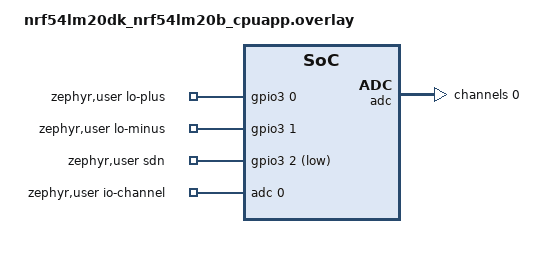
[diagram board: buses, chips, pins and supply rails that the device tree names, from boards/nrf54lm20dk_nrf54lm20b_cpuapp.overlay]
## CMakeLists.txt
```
cmake_minimum_required(VERSION 3.20.0)

# The Axon NPU driver comes from the Edge AI Add-on, used as an extra Zephyr module.
if(NOT DEFINED EXTRA_ZEPHYR_MODULES AND NOT DEFINED ENV{EXTRA_ZEPHYR_MODULES})
  if(DEFINED ENV{EDGE_AI_ADDON_DIR})
    set(EXTRA_ZEPHYR_MODULES $ENV{EDGE_AI_ADDON_DIR})
  else()
    set(EXTRA_ZEPHYR_MODULES /opt/nordic/ncs/sdk-edge-ai)
  endif()
endif()

# --- Which model to build in -------------------------------------------------------------------
# MODEL_DIR is a folder from the Axon export (deploy/out_<name>/firmware_generated) holding
#   nrf_axon_model_<name>_.h, frontend_params.h and test_beats.h.
# Example: west build -b nrf54lm20dk/nrf54lm20b/cpuapp -- -DMODEL_DIR=<dir> -DRUN_MODEL=1
#   -DRECORD_SECONDS=5 "-DMODEL_POS_LABEL=CHD" "-DMODEL_NEG_LABEL=NO CHD"
# With sysbuild (the NCS default) the -D options land in the sysbuild cache, not in this app's
# cache, and they are needed before find_package(Zephyr) (the NPU buffer is a Kconfig option),
# so read them from there by hand. The app-prefixed form (-Dleopatch_onchip_MODEL_DIR) works too.
function(leopatch_option name default type help)
  set(value "${default}")
  if(DEFINED CACHE{${name}})
    set(value "$CACHE{${name}}")
  endif()
  if(DEFINED SYSBUILD_CACHE AND EXISTS "${SYSBUILD_CACHE}")
    file(STRINGS "${SYSBUILD_CACHE}" lines REGEX "^(leopatch_onchip_)?${name}:[A-Z]+=")
    foreach(prefix "" "leopatch_onchip_") # the app-prefixed entry wins
      foreach(line IN LISTS lines)
        if(line MATCHES "^${prefix}${name}:[A-Z]+=(.*)$")
          set(value "${CMAKE_MATCH_1}")
        endif()
      endforeach()
    endforeach()
  endif()
  set(${name} "${value}" CACHE ${type} "${help}" FORCE)
endfunction()

leopatch_option(MODEL_DIR ${CMAKE_CURRENT_SOURCE_DIR}/src/generated PATH "Axon model package folder")
leopatch_option(MODEL_POS_LABEL "MAN" STRING "Result shown when sigmoid(logit) >= threshold")
leopatch_option(MODEL_NEG_LABEL "WOMAN" STRING "Result shown below the threshold")
leopatch_option(RUN_MODEL 0 STRING "1: run the model on the chip, 0: record and send only")
leopatch_option(RECORD_SECONDS 10 STRING "Recording length in seconds")

file(GLOB MODEL_HEADER RELATIVE ${MODEL_DIR} ${MODEL_DIR}/nrf_axon_model_*_.h)
list(LENGTH MODEL_HEADER n_headers)
if(NOT n_headers EQUAL 1)
  message(FATAL_ERROR "MODEL_DIR ${MODEL_DIR} must hold exactly one nrf_axon_model_<name>_.h")
endif()
foreach(f frontend_params.h test_beats.h)
  if(NOT EXISTS ${MODEL_DIR}/${f})
    message(FATAL_ERROR "MODEL_DIR ${MODEL_DIR} has no ${f}")
  endif()
endforeach()
string(REGEX REPLACE "^nrf_axon_model_(.*)_\\.h$" "\\1" MODEL_NAME ${MODEL_HEADER})
string(TOUPPER ${MODEL_NAME} MODEL_NAME_UPPER)

# The NPU scratch buffer is a Kconfig option; size it for this model.
file(STRINGS ${MODEL_DIR}/${MODEL_HEADER} il_line
     REGEX "#define NRF_AXON_MODEL_${MODEL_NAME_UPPER}_MAX_IL_BUFFER_USED")
string(REGEX MATCH "[0-9]+$" MODEL_IL_BUFFER "${il_line}")
file(STRINGS ${MODEL_DIR}/frontend_params.h ch_line REGEX "#define FRONTEND_STEM_CHANNELS")
string(REGEX MATCH "[0-9]+$" MODEL_STEM_CHANNELS "${ch_line}")
set(model_conf ${CMAKE_CURRENT_BINARY_DIR}/model.conf)
file(WRITE ${model_conf} "CONFIG_NRF_AXON_INTERLAYER_BUFFER_SIZE=${MODEL_IL_BUFFER}\n")
list(APPEND EXTRA_CONF_FILE ${model_conf})
message(STATUS "LeoPatch model: ${MODEL_NAME} (${MODEL_STEM_CHANNELS} stem channels, "
               "${MODEL_IL_BUFFER} B NPU buffer) from ${MODEL_DIR}")

find_package(Zephyr REQUIRED HINTS $ENV{ZEPHYR_BASE})
project(leopatch_onchip)

target_sources(app PRIVATE
    src/main.c
    src/beats.c
    src/frontend.c
    src/notch.c
    src/upload.c
)
target_include_directories(app PRIVATE ${MODEL_DIR})
target_compile_definitions(app PRIVATE
    MODEL_HEADER="${MODEL_HEADER}"
    MODEL=model_${MODEL_NAME}
    MODEL_NAME_STR="${MODEL_NAME}"
    MODEL_OUTPUT_SIZE=NRF_AXON_MODEL_${MODEL_NAME_UPPER}_PACKED_OUTPUT_SIZE
    MODEL_STEM_CHANNELS=${MODEL_STEM_CHANNELS}
    MODEL_POS_LABEL="${MODEL_POS_LABEL}"
    MODEL_NEG_LABEL="${MODEL_NEG_LABEL}"
    RUN_MODEL=${RUN_MODEL}
    RECORD_SECONDS=${RECORD_SECONDS}
)
```

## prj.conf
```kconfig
CONFIG_ADC=y
CONFIG_GPIO=y
CONFIG_PRINTK=y
CONFIG_SERIAL=y
CONFIG_CONSOLE=y
CONFIG_UART_CONSOLE=y

CONFIG_NRF_AXON=y
# Must be >= NRF_AXON_MODEL_ECG_SEX_BEAT_MAX_IL_BUFFER_USED in the generated model header
CONFIG_NRF_AXON_INTERLAYER_BUFFER_SIZE=52736
# The model is compiled without the partial sum buffer
CONFIG_NRF_AXON_PSUM_BUFFER_SIZE=0

CONFIG_FPU=y
CONFIG_CBPRINTF_FP_SUPPORT=y
CONFIG_MAIN_STACK_SIZE=4096
# 1 us kernel ticks, so the 2000 us sample period (500 Hz) is exact and the notch filters line up with the hum
CONFIG_SYS_CLOCK_TICKS_PER_SEC=1000000

# Bluetooth upload (Button 1): Nordic UART Service, one connection, no pairing yet
CONFIG_BT=y
CONFIG_BT_PERIPHERAL=y
CONFIG_BT_DEVICE_NAME="LeoPatch"
CONFIG_BT_MAX_CONN=1
CONFIG_BT_NUS=y
# Test setup: no pairing (BT_NUS_AUTHEN off), so anyone nearby can connect and read the recording.
# Turn on pairing and encryption before real use.
# Bigger packets so the 5 s recording uploads in about a second
CONFIG_BT_L2CAP_TX_MTU=247
CONFIG_BT_BUF_ACL_RX_SIZE=251
CONFIG_BT_BUF_ACL_TX_SIZE=251
CONFIG_BT_CTLR_DATA_LENGTH_MAX=251
CONFIG_HEAP_MEM_POOL_SIZE=2048
CONFIG_SYSTEM_WORKQUEUE_STACK_SIZE=2048
```

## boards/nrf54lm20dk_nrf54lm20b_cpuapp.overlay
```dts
/*
 * AD8232 breakout on the nRF54LM20 DK:
 *   OUTPUT -> P1.04 (AIN6, header P2)
 *   LO+    -> P3.00 (header P5)
 *   LO-    -> P3.01 (header P5)
 *   SDN    -> P3.02 (header P5), driven high while recording
 * Set nRF:VDD to 3.3 V in the Board Configurator first; the ADC input must stay below VDD.
 */
/ {
	zephyr,user {
		io-channels = <&adc 0>;
		lo-plus-gpios = <&gpio3 0 GPIO_ACTIVE_HIGH>;
		lo-minus-gpios = <&gpio3 1 GPIO_ACTIVE_HIGH>;
		sdn-gpios = <&gpio3 2 GPIO_ACTIVE_LOW>;
	};
};

&adc {
	#address-cells = <1>;
	#size-cells = <0>;
	status = "okay";

	/* 0.9 V internal reference x gain 1/4 = 3.6 V full scale, covers the AD8232's 0-3.3 V output */
	channel@0 {
		reg = <0>;
		zephyr,gain = "ADC_GAIN_1_4";
		zephyr,reference = "ADC_REF_INTERNAL";
		zephyr,acquisition-time = <ADC_ACQ_TIME_DEFAULT>;
		zephyr,input-positive = <NRF_SAADC_AIN6>; /* P1.04 */
		zephyr,resolution = <12>;
		zephyr,oversampling = <4>;
	};
};
```

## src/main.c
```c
/*
 * LeoPatch on-chip test: AD8232 breakout -> nRF54LM20B -> median-beat model on the Axon NPU.
 *
 * The model is chosen at build time (MODEL_DIR in CMakeLists.txt, or the dashboard in
 * dashboard/), so any median-beat model exported for the Axon NPU can be flashed.
 *
 * Press Button 0 (or send 'r' on the serial port) to record RECORD_SECONDS at 500 Hz. The chip
 * removes mains hum and finds the heartbeats. With RUN_MODEL set it also builds the 800-sample
 * median beat, runs the stem on the CPU and the rest of the model on the NPU, and shows the answer
 * on the LEDs:
 *   LED0 = MODEL_POS_LABEL, LED1 = MODEL_NEG_LABEL, LED2 = running (recording or thinking),
 *   LED3 = error
 * With RUN_MODEL off, the recording is only sent (Button 1) and the model runs on the laptop
 * (tools/ble_receive.py); all LEDs are off when the recording is done.
 * Errors: an electrode off, fewer than 2 full heartbeats, ADC or NPU failure. At start-up the
 * NPU is checked against the Python reference on 4 built-in median beats; a mismatch is an error.
 *
 * Press Button 1 (or send 'u') to send the last result and recording over Bluetooth (see
 * upload.h); LED2 blinks while the board waits for a receiver and sends. The radio is off at all
 * other times, so it never runs during an inference.
 *
 * Serial commands (one character, no Enter needed): r = record, u = Bluetooth upload,
 * t = rerun the NPU self-test, i = print the model info line.
 *
 * Serial output (debugger's second port) is compatible with
 * firmware/ecg_breakout_test/tools/plot_ecg.py: one "raw_mv,filtered_mv,lead_off" line per
 * sample, status lines start with '#'.
 */
#include <assert.h> /* static_assert, used by the generated model header */
#include <math.h>

#include <zephyr/kernel.h>
#include <zephyr/device.h>
#include <zephyr/drivers/adc.h>
#include <zephyr/drivers/gpio.h>
#include <zephyr/drivers/uart.h>
#include <zephyr/sys/printk.h>

#include <axon/nrf_axon_platform.h>
#include <drivers/axon/nrf_axon_driver.h>
#include <drivers/axon/nrf_axon_nn_infer.h>

#include "beats.h"
#include "frontend.h"
#include "notch.h"
#include "recording.h"
#include "upload.h"
#include MODEL_HEADER  /* nrf_axon_model_<name>_.h from MODEL_DIR */
#include "test_beats.h" /* from MODEL_DIR */

/* MODEL, MODEL_NAME_STR, MODEL_OUTPUT_SIZE, MODEL_POS_LABEL, MODEL_NEG_LABEL and RUN_MODEL
 * come from CMakeLists.txt.
 * RUN_MODEL 0: record and send only; the lead I model runs on the laptop.
 * RUN_MODEL 1: run the model on the chip (2-5 s recordings are enough, see RECORD_SECONDS). */

/* Mains hum in the US: 60 Hz plus harmonics below the 250 Hz Nyquist limit. */
#define MAINS_HZ       60
#define N_NOTCHES      3
#define NOTCH_Q        30.0f
#define SETTLE_SAMPLES (SAMPLE_RATE_HZ / 2) /* filter warm-up, not recorded */

/* A recording is rejected if an electrode is off in more than this share of samples. */
#define MAX_LEAD_OFF_PERCENT 5

/* Allowed logit difference to the Python int8 reference (front end float rounding). */
#define LOGIT_TOLERANCE 0.25f

/* How long Button 1 advertises for a phone or laptop before giving up. */
#define UPLOAD_WAIT K_SECONDS(60)

enum event { EVENT_MEASURE, EVENT_UPLOAD, EVENT_SELF_TEST, EVENT_INFO };

static const struct adc_dt_spec ecg = ADC_DT_SPEC_GET_BY_IDX(DT_PATH(zephyr_user), 0);
static const struct gpio_dt_spec lo_plus = GPIO_DT_SPEC_GET(DT_PATH(zephyr_user), lo_plus_gpios);
static const struct gpio_dt_spec lo_minus = GPIO_DT_SPEC_GET(DT_PATH(zephyr_user), lo_minus_gpios);
/* Active low: "active" means shut down. */
static const struct gpio_dt_spec sdn = GPIO_DT_SPEC_GET(DT_PATH(zephyr_user), sdn_gpios);
static const struct gpio_dt_spec button = GPIO_DT_SPEC_GET(DT_ALIAS(sw0), gpios);
static const struct gpio_dt_spec button_upload = GPIO_DT_SPEC_GET(DT_ALIAS(sw1), gpios);
static const struct gpio_dt_spec led_pos = GPIO_DT_SPEC_GET(DT_ALIAS(led0), gpios);
static const struct gpio_dt_spec led_neg = GPIO_DT_SPEC_GET(DT_ALIAS(led1), gpios);
static const struct gpio_dt_spec led_running = GPIO_DT_SPEC_GET(DT_ALIAS(led2), gpios);
static const struct gpio_dt_spec led_error = GPIO_DT_SPEC_GET(DT_ALIAS(led3), gpios);
static const struct device *const console = DEVICE_DT_GET(DT_CHOSEN(zephyr_console));

K_MSGQ_DEFINE(events, sizeof(enum event), 1, 4);
static struct gpio_callback button_cb;
static struct gpio_callback button_upload_cb;

/* Last successful result, sent by Button 1 together with recording[]. */
static char last_result[128];
static bool have_result;

static float recording[RECORDING_LEN];
static float beat[BEAT_LEN];
static int8_t npu_input[FRONTEND_OUT_CH * FRONTEND_OUT_LEN];
static int8_t npu_output[MODEL_OUTPUT_SIZE] __aligned(4);

static void button_pressed(const struct device *dev, struct gpio_callback *cb, uint32_t pins)
{
	enum event e = cb == &button_upload_cb ? EVENT_UPLOAD : EVENT_MEASURE;

	k_msgq_put(&events, &e, K_NO_WAIT); /* dropped if a job is already waiting */
}

/* Serial commands from the dashboard: same events as the buttons, plus self-test and info. */
static void serial_commands(void *a, void *b, void *c)
{
	while (true) {
		unsigned char ch;
		enum event e;

		if (uart_poll_in(console, &ch) != 0) {
			k_msleep(20);
			continue;
		}
		switch (ch) {
		case 'r':
			e = EVENT_MEASURE;
			break;
		case 'u':
			e = EVENT_UPLOAD;
			break;
		case 't':
			e = EVENT_SELF_TEST;
			break;
		case 'i':
			e = EVENT_INFO;
			break;
		default:
			continue;
		}
		if (k_msgq_put(&events, &e, K_NO_WAIT)) {
			printk("# busy: command '%c' ignored\n", ch);
		}
	}
}

K_THREAD_DEFINE(serial_cmd_tid, 1024, serial_commands, NULL, NULL, NULL, 7, 0, 0);

static void blink(struct k_timer *t)
{
	gpio_pin_toggle_dt(&led_running);
}

static K_TIMER_DEFINE(blinker, blink, NULL);

static void show(const struct gpio_dt_spec *on)
{
	const struct gpio_dt_spec *leds[] = {&led_pos, &led_neg, &led_running, &led_error};

	for (int i = 0; i < ARRAY_SIZE(leds); i++) {
		gpio_pin_set_dt(leds[i], leds[i] == on);
	}
}

/* One machine-readable line describing the firmware; the dashboard reads it. */
static void print_info(void)
{
	printk("# model: name=%s,pos=%s,neg=%s,threshold=%.3f,stem_channels=%d,run_model=%d,"
	       "record_s=%d,fs=%d\n",
	       MODEL_NAME_STR, MODEL_POS_LABEL, MODEL_NEG_LABEL, (double)MODEL_THRESHOLD,
	       FRONTEND_OUT_CH, RUN_MODEL, RECORD_SECONDS, SAMPLE_RATE_HZ);
}

static float dequantize(int8_t q, const nrf_axon_compiled_model_output_s *out)
{
	return (float)(q - out->dequant_zp) * ldexpf((float)out->dequant_mult, -out->dequant_round);
}

/* Median beat -> logit: stem on the CPU, the rest on the NPU. Returns false on an NPU error. */
static bool run_model(const float *median_beat, float *logit)
{
	const nrf_axon_nn_compiled_model_input_s *in = &MODEL.inputs[0];

	frontend_run(median_beat, npu_input, ldexpf((float)in->quant_mult, -in->quant_round),
		     in->quant_zp);
	if (nrf_axon_nn_model_infer_sync(&MODEL, npu_input, npu_output) != NRF_AXON_RESULT_SUCCESS) {
		return false;
	}
	*logit = dequantize(npu_output[0], &MODEL.outputs[0]);
	return true;
}

static int setup(void)
{
	const nrf_axon_nn_model_layer_dimensions_s *dims = &MODEL.inputs[0].dimensions;
	const struct gpio_dt_spec *leds[] = {&led_pos, &led_neg, &led_running, &led_error};
	int err = adc_channel_setup_dt(&ecg);

	err = err ?: gpio_pin_configure_dt(&lo_plus, GPIO_INPUT);
	err = err ?: gpio_pin_configure_dt(&lo_minus, GPIO_INPUT);
	err = err ?: gpio_pin_configure_dt(&sdn, GPIO_OUTPUT_INACTIVE);
	for (int i = 0; i < ARRAY_SIZE(leds); i++) {
		err = err ?: gpio_pin_configure_dt(leds[i], GPIO_OUTPUT_INACTIVE);
	}
	err = err ?: gpio_pin_configure_dt(&button, GPIO_INPUT);
	err = err ?: gpio_pin_interrupt_configure_dt(&button, GPIO_INT_EDGE_TO_ACTIVE);
	err = err ?: gpio_pin_configure_dt(&button_upload, GPIO_INPUT);
	err = err ?: gpio_pin_interrupt_configure_dt(&button_upload, GPIO_INT_EDGE_TO_ACTIVE);
	if (err) {
		printk("# error: GPIO/ADC setup failed (%d)\n", err);
		return err;
	}
	gpio_init_callback(&button_cb, button_pressed, BIT(button.pin));
	gpio_init_callback(&button_upload_cb, button_pressed, BIT(button_upload.pin));
	err = gpio_add_callback_dt(&button, &button_cb);
	err = err ?: gpio_add_callback_dt(&button_upload, &button_upload_cb);
	if (err || upload_init()) {
		printk("# error: button or Bluetooth setup failed\n");
		return err ?: -EIO;
	}

	if (dims->height * dims->width * dims->channel_cnt != sizeof(npu_input) ||
	    dims->byte_width != 1 || MODEL.outputs[0].dimensions.byte_width != 1) {
		printk("# error: model input/output does not match the front end\n");
		return -EINVAL;
	}
	if (nrf_axon_platform_init() != NRF_AXON_RESULT_SUCCESS || nrf_axon_nn_model_init_vars(&MODEL) ||
	    nrf_axon_nn_model_validate(&MODEL) != NRF_AXON_RESULT_SUCCESS) {
		printk("# error: NPU initialization failed\n");
		return -EIO;
	}
	return err;
}

/* Run the built-in median beats and compare with the Python int8 reference. */
static bool self_test(void)
{
	int passed = 0;

	for (int i = 0; i < TEST_BEAT_COUNT; i++) {
		float logit;
		const uint32_t t0 = k_cycle_get_32();

		if (!run_model(test_beat[i], &logit)) {
			printk("# self-test beat %d: NPU error\n", i);
			continue;
		}
		const uint32_t ms = k_cyc_to_ms_near32(k_cycle_get_32() - t0);
		const bool ok = fabsf(logit - test_beat_logit_int8[i]) <= LOGIT_TOLERANCE;

		passed += ok;
		printk("# self-test beat %d: logit %.3f, Python int8 %.3f, float %.3f, %u ms %s\n", i,
		       (double)logit, (double)test_beat_logit_int8[i], (double)test_beat_logit_float[i],
		       ms, ok ? "OK" : "MISMATCH");
	}
	printk("# self-test: %d/%d beats match the Python reference\n", passed, TEST_BEAT_COUNT);
	return passed == TEST_BEAT_COUNT;
}

/* Record RECORDING_LEN hum-filtered samples. Returns the number of lead-off samples, or -1. */
static int record(int *clipped)
{
	int16_t raw;
	struct adc_sequence seq = {.buffer = &raw, .buffer_size = sizeof(raw)};
	struct notch notches[N_NOTCHES];
	struct k_timer tick;
	int off = 0;

	*clipped = 0;
	adc_sequence_init_dt(&ecg, &seq);
	printk("# start\n");

	k_timer_init(&tick, NULL, NULL);
	k_timer_start(&tick, K_USEC(1000000 / SAMPLE_RATE_HZ), K_USEC(1000000 / SAMPLE_RATE_HZ));
	/* Negative i: the filters settle on the first 0.5 s, which isn't recorded. */
	for (int i = -SETTLE_SAMPLES; i < RECORDING_LEN; i++) {
		k_timer_status_sync(&tick);
		if (adc_read_dt(&ecg, &seq)) {
			k_timer_stop(&tick);
			return -1;
		}
		int32_t mv = raw;
		int plus = gpio_pin_get_dt(&lo_plus);
		int minus = gpio_pin_get_dt(&lo_minus);

		adc_raw_to_millivolts_dt(&ecg, &mv);
		if (i == -SETTLE_SAMPLES) {
			for (int k = 0; k < N_NOTCHES; k++) {
				notch_init(&notches[k], MAINS_HZ * (k + 1), SAMPLE_RATE_HZ, NOTCH_Q, (float)mv);
			}
		}
		float filtered = (float)mv;

		for (int k = 0; k < N_NOTCHES; k++) {
			filtered = notch_step(&notches[k], filtered);
		}
		if (i < 0) {
			continue;
		}
		recording[i] = filtered;
		*clipped += mv < 150 || mv > 3150;
		off += plus || minus;
		printk("%d,%d,%d\n", mv, (int)lroundf(filtered), plus | (minus << 1));
	}
	k_timer_stop(&tick);
	return off;
}

static int beats_per_minute(const int *peaks, int n_peaks)
{
	return n_peaks > 1 ? 60 * SAMPLE_RATE_HZ * (n_peaks - 1) / (peaks[n_peaks - 1] - peaks[0]) : 0;
}

static void measure(void)
{
	int peaks[PEAKS_MAX];
	int clipped;
	float logit;

	show(&led_running);
	have_result = false; /* recording[] is about to be overwritten */
	const int off = record(&clipped);

	if (off < 0) {
		printk("# result: error, ADC read failed\n# done\n");
		show(&led_error);
		return;
	}
	if (off * 100 > RECORDING_LEN * MAX_LEAD_OFF_PERCENT) {
		printk("# result: error, an electrode was off in %d%% of samples\n# done\n",
		       off * 100 / RECORDING_LEN);
		show(&led_error);
		return;
	}

	const uint32_t t0 = k_cycle_get_32();
	const int n_peaks = beats_find_r_peaks(recording, RECORDING_LEN, peaks, PEAKS_MAX);
	const int bpm = beats_per_minute(peaks, n_peaks);

	if (!RUN_MODEL) {
		printk("# result: recorded %d s, %d beats, %d bpm, %d clipped samples\n",
		       RECORD_SECONDS, n_peaks, bpm, clipped);
		show(NULL);
		snprintk(last_result, sizeof(last_result), "RECORDED,seconds=%d,beats=%d,bpm=%d,clipped=%d",
			 RECORD_SECONDS, n_peaks, bpm, clipped);
		printk("# result-data: %s\n# done\n", last_result);
		have_result = true;
		return;
	}
	const int n_beats = beats_median(recording, RECORDING_LEN, peaks, n_peaks, beat);

	if (n_beats < 2) {
		printk("# result: error, only %d full heartbeats (found %d peaks)\n# done\n", n_beats,
		       n_peaks);
		show(&led_error);
		return;
	}
	if (!run_model(beat, &logit)) {
		printk("# result: error, NPU inference failed\n# done\n");
		show(&led_error);
		return;
	}
	const uint32_t ms = k_cyc_to_ms_near32(k_cycle_get_32() - t0);
	const float p = 1.0f / (1.0f + expf(-logit));
	const bool positive = p >= MODEL_THRESHOLD;
	const char *label = positive ? MODEL_POS_LABEL : MODEL_NEG_LABEL;

	printk("# result: %s (P(%s) %.2f, threshold %.2f) from %d beats, %d bpm, %d clipped samples,"
	       " %u ms on chip\n",
	       label, MODEL_POS_LABEL, (double)p, (double)MODEL_THRESHOLD, n_beats, bpm, clipped, ms);
	show(positive ? &led_pos : &led_neg);
	snprintk(last_result, sizeof(last_result),
		 "%s,p=%.3f,logit=%.3f,threshold=%.3f,beats=%d,bpm=%d,clipped=%d,ms=%u", label,
		 (double)p, (double)logit, (double)MODEL_THRESHOLD, n_beats, bpm, clipped, ms);
	printk("# result-data: %s\n# done\n", last_result);
	have_result = true;
}

static void upload(void)
{
	if (!have_result) {
		printk("# bluetooth: nothing to send yet, press Button 0 to record first\n");
		return;
	}
	k_timer_start(&blinker, K_MSEC(250), K_MSEC(250));
	const int err = upload_send(last_result, recording, RECORDING_LEN, UPLOAD_WAIT);

	k_timer_stop(&blinker);
	gpio_pin_set_dt(&led_running, 0);
	if (err == -ETIMEDOUT) {
		printk("# bluetooth: no receiver connected within 60 s, stopped\n");
	} else if (err) {
		printk("# bluetooth: upload failed (%d)\n", err);
	} else {
		printk("# bluetooth: sent result and %d samples\n", RECORDING_LEN);
	}
}

int main(void)
{
	print_info();
	if (setup()) {
		show(&led_error);
		return 0;
	}
	/* Keep the AD8232 running so its output is settled when a recording starts. */
	gpio_pin_set_dt(&sdn, 0);
	if (!self_test()) {
		show(&led_error);
		printk("# error: NPU self-test failed\n");
		return 0;
	}
	printk("# ready: press Button 0 to record %d s, Button 1 to send it over Bluetooth\n",
	       RECORD_SECONDS);
	while (true) {
		enum event e;

		k_msgq_get(&events, &e, K_FOREVER);
		switch (e) {
		case EVENT_MEASURE:
			measure();
			break;
		case EVENT_UPLOAD:
			upload();
			break;
		case EVENT_SELF_TEST:
			show(self_test() ? NULL : &led_error);
			break;
		case EVENT_INFO:
			print_info();
			break;
		}
		k_msgq_purge(&events); /* ignore presses during the job */
		printk("# ready\n");
	}
}
```

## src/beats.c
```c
#include <stdbool.h>

#include <zephyr/sys/util.h>

#include "beats.h"
#include "recording.h"

#define FS           500
#define DERIV_HALF   2              /* derivative x[n + 2] - x[n - 2] */
#define INTEG        40             /* 80 ms moving sum of the squared derivative */
#define REFRACTORY   (FS * 3 / 10)  /* 300 ms: at most 200 bpm */
#define SEARCH_BACK  40
#define SEARCH_FWD   60
#define THRESH_FRAC  0.3f

/* Squared-derivative energy, one value per recorded sample. */
static float energy[RECORDING_LEN];

static void compute_energy(const float *x, int n)
{
	float sum = 0.0f;
	float sq[INTEG] = {0};

	for (int i = 0; i < n; i++) {
		float d = (i >= DERIV_HALF && i < n - DERIV_HALF) ? x[i + DERIV_HALF] - x[i - DERIV_HALF]
								   : 0.0f;

		/* causal moving sum over the last INTEG squared derivatives */
		sum += d * d - sq[i % INTEG];
		sq[i % INTEG] = d * d;
		energy[i] = sum;
	}
}

int beats_find_r_peaks(const float *x, int n, int *peaks, int max_peaks)
{
	int lo_cand[PEAKS_MAX];
	int hi_cand[PEAKS_MAX];
	int n_cand = 0;
	float thr = 0.0f;

	if (n > RECORDING_LEN || n <= 2 * INTEG + SEARCH_FWD) {
		return 0;
	}
	compute_energy(x, n);
	for (int i = INTEG; i < n - INTEG; i++) {
		thr = MAX(thr, energy[i]);
	}
	thr *= THRESH_FRAC;

	/* candidate QRS regions: energy above threshold, then skip the refractory period */
	for (int i = INTEG; i < n - SEARCH_FWD && n_cand < PEAKS_MAX;) {
		if (energy[i] <= thr) {
			i++;
			continue;
		}
		int lo = MAX(i - SEARCH_BACK - INTEG, 0);

		lo_cand[n_cand] = lo;
		hi_cand[n_cand] = MIN(i + SEARCH_FWD, n);
		n_cand++;
		i = (lo + REFRACTORY + INTEG > i) ? lo + REFRACTORY + INTEG : i + REFRACTORY;
		while (i < n && energy[i] > thr) {
			i++;
		}
	}
	if (n_cand == 0) {
		return 0;
	}

	/* one polarity for the whole recording: whichever extreme is bigger across the beats */
	float mean = 0.0f;
	float up = 0.0f;
	float down = 0.0f;

	for (int i = 0; i < n; i++) {
		mean += x[i];
	}
	mean /= n;
	for (int c = 0; c < n_cand; c++) {
		float mx = x[lo_cand[c]];
		float mn = mx;

		for (int i = lo_cand[c]; i < hi_cand[c]; i++) {
			mx = MAX(mx, x[i]);
			mn = MIN(mn, x[i]);
		}
		up += mx - mean;
		down += mean - mn;
	}
	const float pol = up >= down ? 1.0f : -1.0f;

	/* R peak = extreme in each region; drop peaks closer than the refractory period */
	int count = 0;

	for (int c = 0; c < n_cand; c++) {
		int p = lo_cand[c];

		for (int i = lo_cand[c]; i < hi_cand[c]; i++) {
			if (pol * x[i] > pol * x[p]) {
				p = i;
			}
		}
		if (count > 0 && p - peaks[count - 1] < REFRACTORY) {
			if (pol * x[p] > pol * x[peaks[count - 1]]) {
				peaks[count - 1] = p;
			}
			continue;
		}
		if (count < max_peaks) {
			peaks[count++] = p;
		}
	}
	return count;
}

int beats_median(const float *x, int n, const int *peaks, int n_peaks, float *beat)
{
	int start[BEAT_MAX];
	int k = 0;

	for (int i = 0; i < n_peaks && k < BEAT_MAX; i++) {
		int s = peaks[i] - BEAT_R_OFFSET;

		if (s >= 0 && s + BEAT_LEN <= n) {
			start[k++] = s;
		}
	}
	if (k < 2) {
		return k;
	}

	for (int t = 0; t < BEAT_LEN; t++) {
		float v[BEAT_MAX];

		/* insertion sort of the k values at this time point */
		for (int i = 0; i < k; i++) {
			float val = x[start[i] + t];
			int j = i;

			while (j > 0 && v[j - 1] > val) {
				v[j] = v[j - 1];
				j--;
			}
			v[j] = val;
		}
		beat[t] = (k & 1) ? v[k / 2] : 0.5f * (v[k / 2 - 1] + v[k / 2]);
	}
	return k;
}
```

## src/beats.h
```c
/*
 * Heartbeat (R peak) finder and median beat. Mirrors tools/beat_reference.py.
 */
#pragma once

#define BEAT_LEN      800 /* median beat window: 1.6 s at 500 Hz */
#define BEAT_R_OFFSET 250 /* R peak position inside the window */
#define BEAT_MAX      8   /* beats used for the median */
#define PEAKS_MAX     32

/**
 * Find R peaks in a hum-filtered ECG sampled at 500 Hz.
 *
 * @return number of peaks written to @p peaks (sample indices, increasing).
 */
int beats_find_r_peaks(const float *x, int n, int *peaks, int max_peaks);

/**
 * Median of up to BEAT_MAX windows of BEAT_LEN samples around the R peaks (not normalized).
 *
 * @return number of beats used; less than 2 means no usable median beat.
 */
int beats_median(const float *x, int n, const int *peaks, int n_peaks, float *beat);
```

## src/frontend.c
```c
#include <math.h>

#include <zephyr/sys/util.h>

#include "frontend.h"
#include "frontend_params.h" /* from MODEL_DIR */

#define PAD      ((FRONTEND_STEM_KERNEL - 1) / 2) /* stem conv padding (7) */
#define STEM_LEN (FRONTEND_IN_LEN / 2)            /* stride-2 stem output (400) */

BUILD_ASSERT(STEM_LEN == 2 * FRONTEND_OUT_LEN);
BUILD_ASSERT(FRONTEND_OUT_CH == FRONTEND_STEM_CHANNELS);

/* Normalized beat with PAD zeros on each side, so the stem conv needs no bounds checks. */
static float x_pad[FRONTEND_IN_LEN + 2 * PAD];

/* Per-beat z-score, as in the training data. */
static void normalize(const float *beat)
{
	float *x = &x_pad[PAD];
	double sum = 0.0;
	double var = 0.0;

	for (int i = 0; i < FRONTEND_IN_LEN; i++) {
		x[i] = isfinite(beat[i]) ? beat[i] : 0.0f;
		sum += (double)x[i];
	}

	const float mean = (float)(sum / FRONTEND_IN_LEN);

	for (int i = 0; i < FRONTEND_IN_LEN; i++) {
		const float d = x[i] - mean;

		var += (double)(d * d);
	}

	float std = (float)sqrt(var / FRONTEND_IN_LEN);

	if (std < 1e-6f) {
		std = 1.0f;
	}
	for (int i = 0; i < FRONTEND_IN_LEN; i++) {
		x[i] = (x[i] - mean) / std;
	}
}

/* ReLU(BN(conv)) of all stem channels at stem output sample n. */
static void stem(int n, float *z)
{
	const float *xs = &x_pad[2 * n];

	for (int c = 0; c < FRONTEND_STEM_CHANNELS; c++) {
		float acc = frontend_stem_b[c];

		for (int k = 0; k < FRONTEND_STEM_KERNEL; k++) {
			acc += frontend_stem_w[c][k] * xs[k];
		}
		z[c] = acc > 0.0f ? acc : 0.0f;
	}
}

void frontend_run(const float *beat, int8_t *out, float inv_scale, int8_t zero_point)
{
	/* stem outputs 2m - 1, 2m and 2m + 1. Stem output -1 is padding: 0 is safe after ReLU. */
	float prev[FRONTEND_STEM_CHANNELS] = {0};
	float z0[FRONTEND_STEM_CHANNELS];
	float z1[FRONTEND_STEM_CHANNELS];

	normalize(beat);

	for (int m = 0; m < FRONTEND_OUT_LEN; m++) {
		stem(2 * m, z0);
		stem(2 * m + 1, z1);

		for (int c = 0; c < FRONTEND_STEM_CHANNELS; c++) {
			const float pooled = fmaxf(prev[c], fmaxf(z0[c], z1[c]));
			const int32_t q = (int32_t)lrintf(pooled * inv_scale) + zero_point;

			out[c * FRONTEND_OUT_LEN + m] = (int8_t)CLAMP(q, INT8_MIN, INT8_MAX);
			prev[c] = z1[c];
		}
	}
}
```

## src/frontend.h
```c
/*
 * CPU front end of the median-beat ECG sex classifier: z-score normalization, stem conv + BN +
 * ReLU and max-pool. Mirrors frontend() in deploy/export_axon_median_beat.py.
 */
#pragma once

#include <stdint.h>

#define FRONTEND_IN_LEN  800 /* one median beat */
#define FRONTEND_OUT_CH  MODEL_STEM_CHANNELS /* stem channels, from frontend_params.h via CMake */
#define FRONTEND_OUT_LEN 200 /* 800 -> stride-2 stem 400 -> stride-2 max-pool 200 */

/**
 * Run the front end on one median beat and quantize the result for the NPU.
 *
 * @param beat       FRONTEND_IN_LEN samples (non-finite values are treated as 0).
 * @param out        int8 NPU input, channel-first: out[c * FRONTEND_OUT_LEN + m].
 * @param inv_scale  1 / input scale of the compiled model.
 * @param zero_point Input zero point of the compiled model.
 */
void frontend_run(const float *beat, int8_t *out, float inv_scale, int8_t zero_point);
```

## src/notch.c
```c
#include <math.h>

#include "notch.h"

void notch_init(struct notch *n, float f0, float fs, float q, float start)
{
	float w0 = 2.0f * 3.14159265f * f0 / fs;
	float alpha = sinf(w0) / (2.0f * q);
	float a0 = 1.0f + alpha;

	n->b0 = 1.0f / a0;
	n->b1 = -2.0f * cosf(w0) / a0;
	n->b2 = 1.0f / a0;
	n->a1 = n->b1;
	n->a2 = (1.0f - alpha) / a0;
	n->x1 = n->x2 = n->y1 = n->y2 = start;
}

float notch_step(struct notch *n, float x)
{
	float y = n->b0 * x + n->b1 * n->x1 + n->b2 * n->x2 - n->a1 * n->y1 - n->a2 * n->y2;

	n->x2 = n->x1;
	n->x1 = x;
	n->y2 = n->y1;
	n->y1 = y;
	return y;
}
```

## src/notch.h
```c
/*
 * Mains hum removal: second-order notch filters (RBJ audio EQ cookbook), direct form I.
 */
#pragma once

struct notch {
	float b0, b1, b2, a1, a2;
	float x1, x2, y1, y2;
};

/* Notch at f0 Hz for a signal sampled at fs Hz, settled at the value start (DC passes). */
void notch_init(struct notch *n, float f0, float fs, float q, float start);

float notch_step(struct notch *n, float x);
```

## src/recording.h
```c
/*
 * Recording settings shared by the recorder and the beat finder.
 */
#pragma once

#define SAMPLE_RATE_HZ 500
#ifndef RECORD_SECONDS /* set by CMakeLists.txt */
#define RECORD_SECONDS 10
#endif
#define RECORDING_LEN  (SAMPLE_RATE_HZ * RECORD_SECONDS)
```

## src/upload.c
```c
#include <errno.h>
#include <math.h>
#include <stdio.h>
#include <string.h>

#include <zephyr/bluetooth/bluetooth.h>
#include <zephyr/bluetooth/conn.h>
#include <zephyr/bluetooth/gatt.h>
#include <zephyr/sys/printk.h>
#include <zephyr/sys/util.h>
#include <bluetooth/services/nus.h>

#include "upload.h"

#define SENT_TIMEOUT K_SECONDS(2)

static struct bt_conn *current;
static K_SEM_DEFINE(subscribed, 0, 1);
static K_SEM_DEFINE(sent, 0, 1);
static K_SEM_DEFINE(gone, 0, 1);

static const struct bt_data ad[] = {
	BT_DATA_BYTES(BT_DATA_FLAGS, (BT_LE_AD_GENERAL | BT_LE_AD_NO_BREDR)),
	BT_DATA(BT_DATA_NAME_COMPLETE, CONFIG_BT_DEVICE_NAME, sizeof(CONFIG_BT_DEVICE_NAME) - 1),
};
static const struct bt_data sd[] = {
	BT_DATA_BYTES(BT_DATA_UUID128_ALL, BT_UUID_NUS_VAL),
};

static void connected(struct bt_conn *conn, uint8_t err)
{
	if (err) {
		return;
	}
	current = bt_conn_ref(conn);
	printk("# bluetooth: connected\n");
}

static void disconnected(struct bt_conn *conn, uint8_t reason)
{
	if (current == conn) {
		bt_conn_unref(current);
		current = NULL;
	}
	printk("# bluetooth: disconnected (reason %u)\n", reason);
	k_sem_give(&gone);
}

BT_CONN_CB_DEFINE(conn_callbacks) = {
	.connected = connected,
	.disconnected = disconnected,
};

static void send_enabled(enum bt_nus_send_status status)
{
	if (status == BT_NUS_SEND_STATUS_ENABLED) {
		k_sem_give(&subscribed);
	}
}

static void on_sent(struct bt_conn *conn)
{
	k_sem_give(&sent);
}

static struct bt_nus_cb nus_cb = {
	.send_enabled = send_enabled,
	.sent = on_sent,
};

int upload_init(void)
{
	int err = bt_enable(NULL);

	return err ?: bt_nus_init(&nus_cb);
}

/* Send one notification and wait until the stack has sent it. */
static int send_chunk(const char *buf, int len)
{
	k_sem_reset(&sent);
	int err = bt_nus_send(current, buf, len);

	if (err) {
		return err;
	}
	return k_sem_take(&sent, SENT_TIMEOUT) ? -EIO : 0;
}

int upload_send(const char *result, const float *samples, int n, k_timeout_t wait)
{
	char chunk[244]; /* fits the largest NUS payload with a 247-byte MTU */
	int err;

	k_sem_reset(&subscribed);
	k_sem_reset(&gone);
	err = bt_le_adv_start(BT_LE_ADV_CONN_FAST_1, ad, ARRAY_SIZE(ad), sd, ARRAY_SIZE(sd));
	if (err) {
		return err;
	}
	printk("# bluetooth: advertising as \"%s\"\n", CONFIG_BT_DEVICE_NAME);
	if (k_sem_take(&subscribed, wait)) {
		bt_le_adv_stop();
		if (current) {
			bt_conn_disconnect(current, BT_HCI_ERR_REMOTE_USER_TERM_CONN);
		}
		return -ETIMEDOUT;
	}
	bt_le_adv_stop();

	/* The receiver negotiates the packet size (phones and macOS ask for a large one). */
	const int max = MIN((int)bt_nus_get_mtu(current), (int)sizeof(chunk));

	printk("# bluetooth: receiver subscribed, %d bytes per packet\n", max);
	int len = snprintf(chunk, sizeof(chunk), "# result: %s\n", result);

	err = send_chunk(chunk, MIN(len, max));
	/* pack as many whole sample lines into each notification as fit */
	len = 0;
	for (int i = 0; i < n && !err; i++) {
		char line[12];
		int l = snprintf(line, sizeof(line), "%d\n", (int)lroundf(samples[i]));

		if (len + l > max) {
			err = send_chunk(chunk, len);
			len = 0;
		}
		memcpy(&chunk[len], line, l);
		len += l;
	}
	if (!err && len) {
		err = send_chunk(chunk, len);
	}
	if (!err) {
		err = send_chunk("# end\n", 6);
	}

	if (current) {
		bt_conn_disconnect(current, BT_HCI_ERR_REMOTE_USER_TERM_CONN);
		k_sem_take(&gone, K_SECONDS(2));
	}
	return err;
}
```

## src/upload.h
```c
/*
 * Bluetooth upload of the last result and recording over the Nordic UART Service (NUS).
 * The radio is only used during an upload: advertise as "LeoPatch", wait for a phone or laptop to
 * connect and subscribe, send, disconnect, stop advertising.
 */
#pragma once

#include <zephyr/kernel.h>

/* Turn on the Bluetooth stack (the radio stays off until upload_send). */
int upload_init(void);

/**
 * Send one result line, then the recording as one "filtered_mv" line per sample, then "# end".
 *
 * @param result  Result text without newline, e.g. "WOMAN,0.74,5,65".
 * @param samples Recording in mV.
 * @param n       Number of samples.
 * @param wait    How long to advertise for a receiver before giving up.
 * @return 0 when everything was sent, -ETIMEDOUT if nobody connected, other negative on error.
 */
int upload_send(const char *result, const float *samples, int n, k_timeout_t wait);
```
